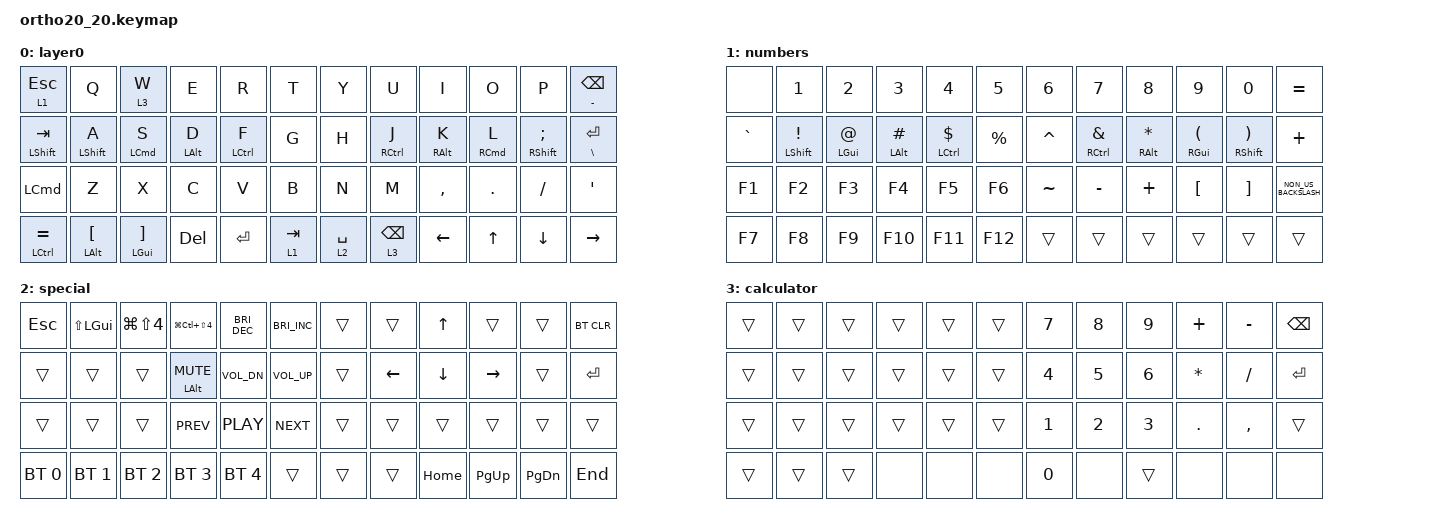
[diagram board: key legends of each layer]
/*
 * Copyright (c) 2020 The ZMK Contributors
 *
 * SPDX-License-Identifier: MIT
 */

#include <behaviors.dtsi>
#include <dt-bindings/zmk/bt.h>
#include <dt-bindings/zmk/keys.h>

/ {
    behaviors {
        hm: homerow_mods {
            compatible = "zmk,behavior-hold-tap";
            label = "HOMEROW_MODS";
            bindings = <&kp>, <&kp>;

            #binding-cells = <2>;
            tapping-term-ms = <150>;
            flavor = "tap-preferred";
            require-prior-idle-ms = <100>;
            quick-tap-ms = <100>;
        };

        shifthr: shifthr {
            compatible = "zmk,behavior-hold-tap";
            label = "SHIFTHR";
            bindings = <&kp>, <&kp>;

            #binding-cells = <2>;
            tapping-term-ms = <185>;
            flavor = "tap-preferred";
            quick-tap-ms = <185>;
        };

        weak: weak {
            compatible = "zmk,behavior-hold-tap";
            label = "WEAK";
            bindings = <&kp>, <&kp>;

            #binding-cells = <2>;
            tapping-term-ms = <230>;
            flavor = "tap-preferred";
            require-prior-idle-ms = <125>;
            quick-tap-ms = <230>;
        };
    };

    combos {
        compatible = "zmk,combos";

        underscore_right {
            bindings = <&kp MINUS>;
            key-positions = <11 10>;
        };

        equals {
            bindings = <&kp EQUAL>;
            key-positions = <0 1>;
        };

        space {
            bindings = <&kp SPACE>;
            key-positions = <16 19>;
        };

        backlash {
            bindings = <&kp BACKSLASH>;
            key-positions = <23 22>;
        };

        bootloader-right {
            bindings = <&bootloader>;
            key-positions = <11 42>;
        };

        bootloader-left {
            bindings = <&bootloader>;
            key-positions = <0 41>;
        };

        zmk-studio-left {
            bindings = <&studio_unlock>;
            key-positions = <36 41>;
        };

        zmk-studio-right {
            bindings = <&studio_unlock>;
            key-positions = <47 42>;
        };
    };

    keymap {
        compatible = "zmk,keymap";

        layer0 {
            bindings = <
&lt 1 ESCAPE        &kp Q                  &lt 3 W                 &kp E           &kp R               &kp T      &kp Y        &kp U                &kp I            &kp O                &kp P                      &mt MINUS BACKSPACE
&mt LEFT_SHIFT TAB  &hm LEFT_SHIFT A       &hm LEFT_COMMAND S      &hm LEFT_ALT D  &hm LEFT_CONTROL F  &kp G      &kp H        &hm RIGHT_CONTROL J  &hm RIGHT_ALT K  &hm RIGHT_COMMAND L  &hm RIGHT_SHIFT SEMICOLON  &mt BACKSLASH ENTER
&kp LEFT_COMMAND    &kp Z                  &kp X                   &kp C           &kp V               &kp B      &kp N        &kp M                &kp COMMA        &kp PERIOD           &kp SLASH                  &kp APOS
&mt LCTRL EQUAL     &mt LALT LEFT_BRACKET  &mt LGUI RIGHT_BRACKET  &kp DELETE      &kp ENTER           &lt 1 TAB  &lt 2 SPACE  &lt 3 BACKSPACE      &kp LEFT_ARROW   &kp UP_ARROW         &kp DOWN                   &kp RIGHT
            >;
        };

        numbers {
            bindings = <
&none      &kp NUMBER_1            &kp NUMBER_2  &kp NUMBER_3   &kp NUMBER_4             &kp N5       &kp NUMBER_6  &kp N7                  &kp N8          &kp N9                     &kp N0                        &kp EQUAL
&kp GRAVE  &hm LSHIFT EXCLAMATION  &hm LGUI AT   &hm LALT HASH  &hm LEFT_CONTROL DOLLAR  &kp PERCENT  &kp CARET     &hm RIGHT_CONTROL AMPS  &hm RALT ASTRK  &hm RGUI LEFT_PARENTHESIS  &hm RSHIFT RIGHT_PARENTHESIS  &kp PLUS
&kp F1     &kp F2                  &kp F3        &kp F4         &kp F5                   &kp F6       &kp TILDE     &kp MINUS               &kp PLUS        &kp LEFT_BRACKET           &kp RIGHT_BRACKET             &kp NON_US_BACKSLASH
&kp F7     &kp F8                  &kp F9        &kp F10        &kp F11                  &kp F12      &trans        &trans                  &trans          &trans                     &trans                        &trans
            >;
        };

        special {
            bindings = <
&kp ESCAPE    &kp LS(LEFT_GUI)  &kp LG(LS(NUMBER_4))  &kp LG(LC(LS(NUMBER_4)))  &kp C_BRIGHTNESS_DEC  &kp C_BRIGHTNESS_INC  &trans  &trans          &kp UP_ARROW    &trans           &trans         &bt BT_CLR
&trans        &trans            &trans                &hm LALT C_MUTE           &kp C_VOL_DN          &kp C_VOLUME_UP       &trans  &kp LEFT_ARROW  &kp DOWN_ARROW  &kp RIGHT_ARROW  &trans         &kp ENTER
&trans        &trans            &trans                &kp C_PREV                &kp C_PLAY            &kp C_NEXT            &trans  &trans          &trans          &trans           &trans         &trans
&bt BT_SEL 0  &bt BT_SEL 1      &bt BT_SEL 2          &bt BT_SEL 3              &bt BT_SEL 4          &trans                &trans  &trans          &kp HOME        &kp PAGE_UP      &kp PAGE_DOWN  &kp END
            >;
        };

        calculator {
            bindings = <
&trans  &trans  &trans  &trans  &trans  &trans  &kp N7        &kp N8  &kp N9  &kp PLUS      &kp MINUS  &kp BACKSPACE
&trans  &trans  &trans  &trans  &trans  &trans  &kp N4        &kp N5  &kp N6  &kp ASTERISK  &kp SLASH  &kp ENTER
&trans  &trans  &trans  &trans  &trans  &trans  &kp N1        &kp N2  &kp N3  &kp PERIOD    &kp COMMA  &trans
&trans  &trans  &trans  &none   &none   &none   &kp NUMBER_0  &none   &trans  &none         &none      &none
            >;
        };
    };
};
